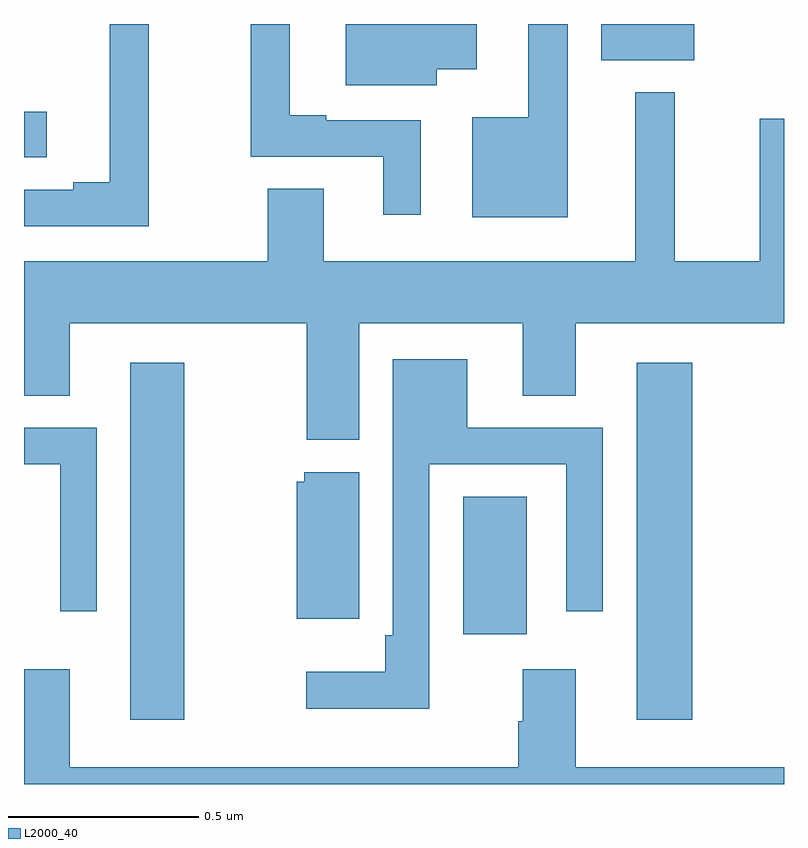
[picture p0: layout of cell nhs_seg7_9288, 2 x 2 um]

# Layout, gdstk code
import gdstk
lib = gdstk.Library(unit=1e-6, precision=1e-09)
def R(c, l, rs):  # rectangles x0, y0, x1, y1
    for r in rs: c.add(gdstk.rectangle(r[:2], r[2:], *l))
def P(c, l, *ps):  # polygons
    for p in ps: c.add(gdstk.Polygon(p, *l))
L2000_40 = (2000, 40)

nhs_seg7_9288 = lib.new_cell('nhs_seg7_9288')
R(nhs_seg7_9288, L2000_40, [(235.28,1070.169,235.422,1071.109), (236.612,1070.169,236.759,1071.109), (236.156,1070.394,236.323,1070.756), (235,1071.649,235.06,1071.769), (236.519,1071.905,236.764,1072)])
P(nhs_seg7_9288, L2000_40, [(236.044,1071.747),(235.795,1071.747),(235.795,1071.76),(235.699,1071.76),(235.699,1072),(235.597,1072),(235.597,1071.651),(235.946,1071.651),(235.946,1071.498),(236.044,1071.498)],
  [(236.086,1071.881),(236.191,1071.881),(236.191,1072),(235.847,1072),(235.847,1071.839),(236.086,1071.839)],
  [(235.328,1072),(235.225,1072),(235.225,1071.867),(235.226,1071.867),(235.226,1071.584),(235.13,1071.584),(235.13,1071.564),(235,1071.564),(235,1071.468),(235.328,1071.468)],
  [(236.431,1072),(236.327,1072),(236.327,1071.754),(236.18,1071.754),(236.18,1071.491),(236.431,1071.491)],
  [(235.882,1071.212),(236.312,1071.212),(236.312,1071.022),(236.452,1071.022),(236.452,1071.212),(237,1071.212),(237,1071.751),(236.936,1071.751),(236.936,1071.376),(236.713,1071.376),(236.713,1071.82),(236.609,1071.82),(236.609,1071.376),(235.789,1071.376),(235.789,1071.566),(235.642,1071.566),(235.642,1071.376),(235,1071.376),(235,1071.022),(235.12,1071.022),(235.12,1071.212),(235.744,1071.212),(235.744,1070.906),(235.882,1070.906)],
  [(236.067,1070.841),(236.427,1070.841),(236.427,1070.454),(236.523,1070.454),(236.523,1070.937),(236.167,1070.937),(236.167,1071.118),(235.971,1071.118),(235.971,1070.392),(235.951,1070.392),(235.951,1070.296),(235.743,1070.296),(235.743,1070.198),(236.067,1070.198)],
  [(235.191,1070.937),(235,1070.937),(235,1070.841),(235.095,1070.841),(235.095,1070.454),(235.191,1070.454)],
  [(235.882,1070.821),(235.737,1070.821),(235.737,1070.796),(235.718,1070.796),(235.718,1070.435),(235.882,1070.435)],
  [(237,1070.044),(236.452,1070.044),(236.452,1070.302),(236.312,1070.302),(236.312,1070.165),(236.3,1070.165),(236.3,1070.044),(235.12,1070.044),(235.12,1070.302),(235,1070.302),(235,1070),(237,1070)])

lib.write_gds('nhs_seg7_9288.gds')
